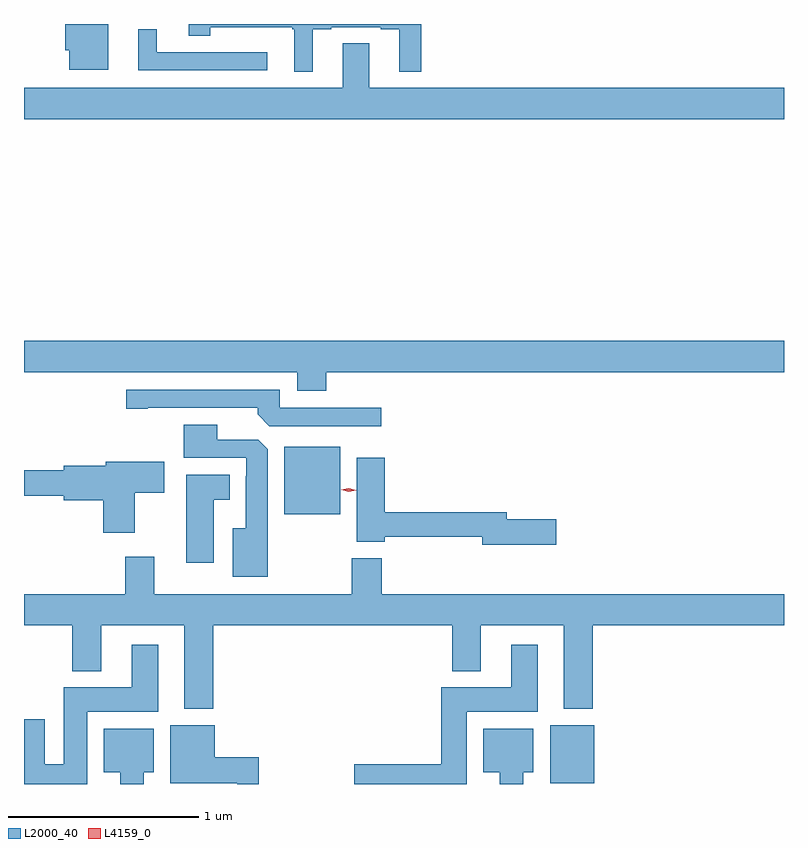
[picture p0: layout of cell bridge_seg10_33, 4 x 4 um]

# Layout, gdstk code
import gdstk
lib = gdstk.Library(unit=1e-6, precision=1e-09)
def R(c, l, rs):  # rectangles x0, y0, x1, y1
    for r in rs: c.add(gdstk.rectangle(r[:2], r[2:], *l))
def P(c, l, *ps):  # polygons
    for p in ps: c.add(gdstk.Polygon(p, *l))
L2000_40 = (2000, 40)
L4159_0 = (4159, 0)

bridge_seg10_33 = lib.new_cell('bridge_seg10_33')
R(bridge_seg10_33, L2000_40, [(942.257,1299.485,942.49,1299.79), (940.859,1300.901,941.152,1301.254)])
P(bridge_seg10_33, L2000_40, [(939.931,1303.48),(939.706,1303.48),(939.706,1303.342),(939.725,1303.342),(939.725,1303.238),(939.931,1303.238)],
  [(941.008,1303.452),(941.104,1303.452),(941.104,1303.464),(941.366,1303.464),(941.366,1303.452),(941.462,1303.452),(941.462,1303.229),(941.579,1303.229),(941.579,1303.48),(940.356,1303.48),(940.356,1303.417),(940.469,1303.417),(940.469,1303.463),(940.899,1303.463),(940.899,1303.452),(940.91,1303.452),(940.91,1303.229),(941.008,1303.229)],
  [(940.768,1303.332),(940.186,1303.332),(940.186,1303.452),(940.088,1303.452),(940.088,1303.236),(940.768,1303.236)],
  [(943.488,1303.144),(941.305,1303.144),(941.305,1303.379),(941.165,1303.379),(941.165,1303.144),(939.488,1303.144),(939.488,1302.98),(943.488,1302.98)],
  [(941.078,1301.648),(943.488,1301.648),(943.488,1301.812),(939.488,1301.812),(939.488,1301.648),(940.925,1301.648),(940.925,1301.549),(941.078,1301.549)],
  [(941.368,1301.46),(940.833,1301.46),(940.833,1301.556),(940.026,1301.556),(940.026,1301.455),(940.138,1301.455),(940.138,1301.46),(940.718,1301.46),(940.718,1301.426),(940.779,1301.364),(941.368,1301.364)],
  [(940.771,1301.243),(940.722,1301.292),(940.504,1301.292),(940.504,1301.371),(940.328,1301.371),(940.328,1301.196),(940.659,1301.196),(940.659,1301.099),(940.655,1301.099),(940.655,1300.825),(940.586,1300.825),(940.586,1300.571),(940.771,1300.571)],
  [(942.289,1300.874),(942.028,1300.874),(942.028,1300.91),(941.387,1300.91),(941.387,1301.197),(941.24,1301.197),(941.24,1300.754),(941.387,1300.754),(941.387,1300.782),(941.9,1300.782),(941.9,1300.739),(942.289,1300.739)],
  [(940.072,1301.014),(940.225,1301.014),(940.225,1301.176),(939.917,1301.176),(939.917,1301.156),(939.698,1301.156),(939.698,1301.132),(939.488,1301.132),(939.488,1300.996),(939.698,1300.996),(939.698,1300.973),(939.905,1300.973),(939.905,1300.803),(940.072,1300.803)],
  [(940.486,1300.976),(940.57,1300.976),(940.57,1301.107),(940.343,1301.107),(940.343,1300.644),(940.486,1300.644)],
  [(940.484,1300.316),(941.741,1300.316),(941.741,1300.073),(941.893,1300.073),(941.893,1300.316),(942.329,1300.316),(942.329,1299.875),(942.482,1299.875),(942.482,1300.316),(943.488,1300.316),(943.488,1300.48),(941.372,1300.48),(941.372,1300.669),(941.212,1300.669),(941.212,1300.48),(940.174,1300.48),(940.174,1300.675),(940.022,1300.675),(940.022,1300.48),(939.488,1300.48),(939.488,1300.316),(939.743,1300.316),(939.743,1300.073),(939.895,1300.073),(939.895,1300.316),(940.331,1300.316),(940.331,1299.875),(940.484,1299.875)],
  [(941.818,1299.86),(942.193,1299.86),(942.193,1300.213),(942.053,1300.213),(942.053,1299.988),(941.684,1299.988),(941.684,1299.584),(941.226,1299.584),(941.226,1299.48),(941.818,1299.48)],
  [(939.82,1299.86),(940.195,1299.86),(940.195,1300.213),(940.055,1300.213),(940.055,1299.988),(939.698,1299.988),(939.698,1299.584),(939.598,1299.584),(939.598,1299.82),(939.488,1299.82),(939.488,1299.48),(939.82,1299.48)],
  [(940.723,1299.62),(940.492,1299.62),(940.492,1299.79),(940.259,1299.79),(940.259,1299.485),(940.61,1299.485),(940.61,1299.48),(940.723,1299.48)],
  [(942.115,1299.542),(942.169,1299.542),(942.169,1299.772),(941.906,1299.772),(941.906,1299.542),(941.993,1299.542),(941.993,1299.48),(942.115,1299.48)],
  [(940.117,1299.542),(940.171,1299.542),(940.171,1299.772),(939.908,1299.772),(939.908,1299.542),(939.995,1299.542),(939.995,1299.48),(940.117,1299.48)])
P(bridge_seg10_33, L4159_0, [(941.197,1301.017),(941.159,1301.028),(941.158,1301.028),(941.159,1301.028),(941.198,1301.037),(941.236,1301.026),(941.236,1301.026),(941.236,1301.026)])

lib.write_gds('bridge_seg10_33.gds')
